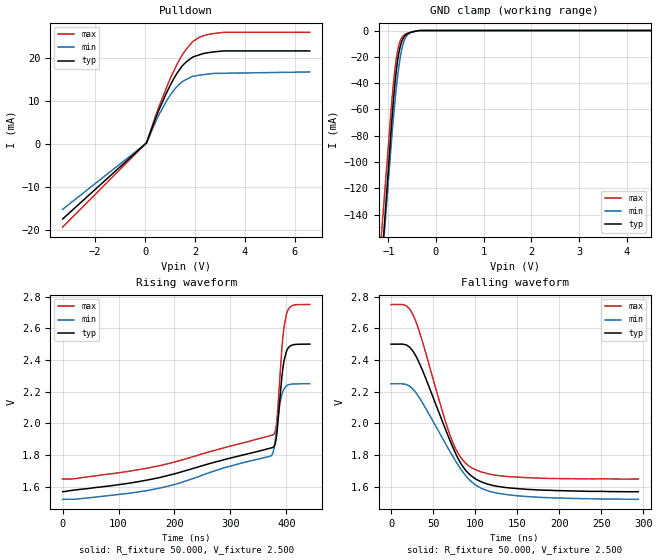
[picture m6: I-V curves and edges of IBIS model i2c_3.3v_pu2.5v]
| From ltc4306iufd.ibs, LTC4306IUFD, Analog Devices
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[Model]   i2c_3.3v_pu2.5v
Model_type I/O_open_drain
Vinl=5.200E-01
Vinh=2.000E+00
Vref=2.500E+00
Rref=2.700E+03
Cref=0.000E+00
Vmeas=1.650E+00
C_comp   1.380E-12   1.270E-12   1.490E-12
[Model spec]
Vref  2.50   2.25   2.75
Vinl  0.52   0.40   0.64
|Vinh
[Voltage Range]   3.300E+00   2.970E+00   3.630E+00
[POWER Clamp Reference]   3.300E+00   2.970E+00   3.630E+00
[GND Clamp Reference]   0.000E+00   0.000E+00   0.000E+00
[Pullup Reference]   3.300E+00   2.970E+00   3.630E+00
[Pulldown Reference]   0.000E+00   0.000E+00   0.000E+00
[Temperature Range]   25   85   -40
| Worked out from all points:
|   slope of the pulldown table from 0 to 0.495 V, typ, clamps not added: 69.9 ohm
|   GND clamp passes 1 mA (typ) near -0.49 V on its own axis
|   rising waveform, R_fixture 50.000, V_fixture 2.500: 20-80 % time 121ns typ, 143ns min, 79.6ns max; typ from 1.57 V to 2.5 V
|   falling waveform, R_fixture 50.000, V_fixture 2.500: 20-80 % time 43.1ns typ, 49.1ns min, 37.8ns max; typ from 2.5 V to 1.57 V
[GND Clamp]
-3.3V     -1.278A    -1.191A    -1.158A
-1.02V    -116.5mA   -125.1mA   -97.6mA
-900mV    -56.78mA   -70.02mA   -43.45mA
-860mV    -40.41mA   -54.03mA   -29.53mA
-820mV    -26.94mA   -39.88mA   -18.85mA
-780mV    -17.33mA   -27.96mA   -11.53mA
-720mV    -8.628mA   -14.81mA   -5.639mA
-680mV    -5.395mA   -9.168mA   -3.811mA
-620mV    -2.945mA   -4.45mA    -2.445mA
-520mV    -1.269mA   -1.422mA   -1.248mA
-340mV    0A         0A         0A
6.6V      0A         0A         0A
[Pulldown]
-3.3V     -17.33mA   -15.1mA    -19.23mA
60mV      287uA      311.9uA    421.1uA
560mV     8.004mA    6.842mA    8.756mA
840mV     11.65mA    9.822mA    12.86mA
1.04V     14.01mA    11.65mA    15.64mA
1.3V      16.63mA    13.5mA     18.76mA
1.48V     18.08mA    14.43mA    20.6mA
1.64V     19.04mA    15mA       21.96mA
1.94V     20.28mA    15.76mA    23.91mA
2.32V     21mA       16.12mA    25.12mA
3.14V     21.63mA    16.45mA    25.94mA
6.6V      21.63mA    16.75mA    25.94mA
[Rising Waveform]
R_fixture = 50.000
V_fixture = 2.500
V_fixture_min = 2.250
V_fixture_max = 2.750
|  time   V(typ)   V(min)   V(max)
0s        1.569V     1.521V     1.649V
190ns     1.673V     1.605V     1.747V
372ns     1.844V     1.794V     1.923V
378ns     1.854V     1.843V     1.932V
382ns     1.906V     1.946V     1.985V
388ns     2.136V     2.114V     2.266V
394ns     2.353V     2.203V     2.552V
400ns     2.452V     2.236V     2.686V
410ns     2.494V     2.248V     2.742V
442ns     2.5V       2.25V      2.75V
[Falling Waveform]
R_fixture = 50.000
V_fixture = 2.500
V_fixture_min = 2.250
V_fixture_max = 2.750
|  time   V(typ)   V(min)   V(max)
0s        2.5V       2.25V      2.75V
18ns      2.496V     2.246V     2.743V
26ns      2.456V     2.216V     2.687V
38ns      2.327V     2.124V     2.504V
72ns      1.867V     1.805V     1.898V
82ns      1.756V     1.718V     1.792V
94ns      1.675V     1.64V      1.726V
112ns     1.622V     1.58V      1.687V
144ns     1.591V     1.547V     1.663V
294ns     1.569V     1.521V     1.649V
[Ramp]
dV/dt_r   6.2618E-01/1.2700E-07   4.7882E-01/1.4280E-07   7.5401E-01/7.9830E-08
dV/dt_f   6.2618E-01/4.3066E-08   4.7882E-01/4.9105E-08   7.5401E-01/3.7684E-08
R_load = 50
